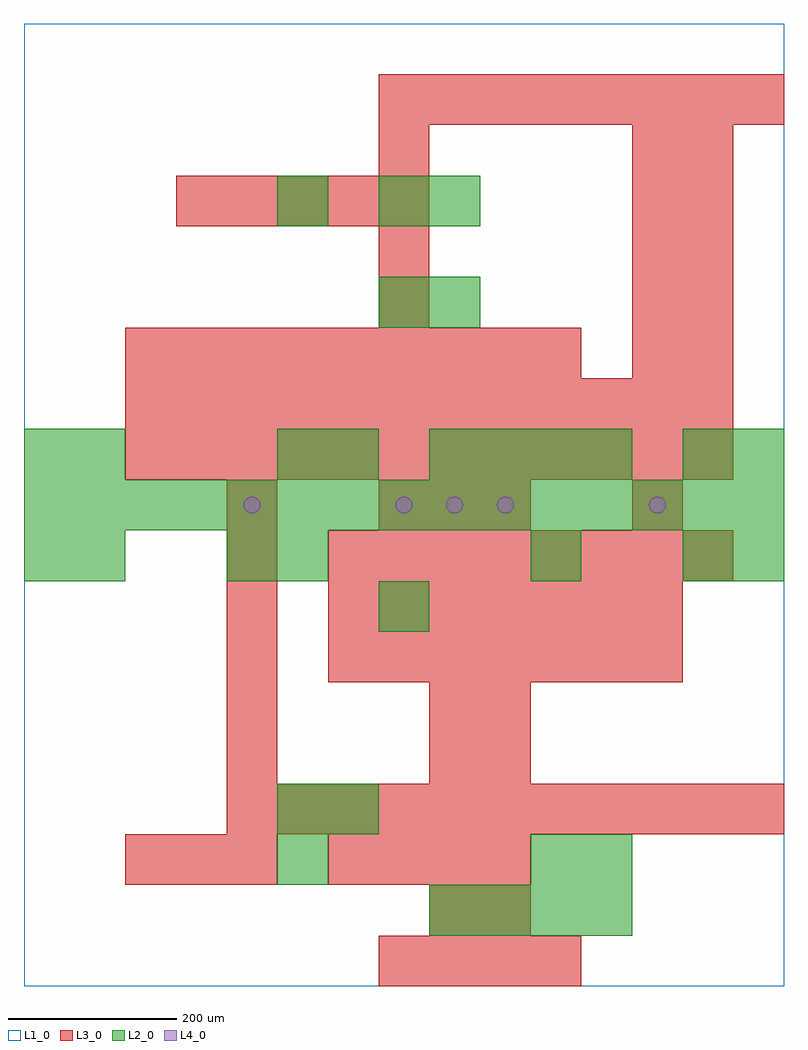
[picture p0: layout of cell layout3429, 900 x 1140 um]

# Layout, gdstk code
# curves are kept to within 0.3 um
import gdstk
lib = gdstk.Library(unit=1e-6, precision=1e-09)
def R(c, l, rs):  # rectangles x0, y0, x1, y1
    for r in rs: c.add(gdstk.rectangle(r[:2], r[2:], *l))
def A(c, l, x, y, w, h, nx, ny, dx, dy):  # array of equal rectangles
    R(c, l, [(x+i*dx, y+j*dy, x+i*dx+w, y+j*dy+h) for i in range(nx) for j in range(ny)])
def P(c, l, *ps):  # polygons
    for p in ps: c.add(gdstk.Polygon(p, *l))
L1_0 = (1, 0)
L2_0 = (2, 0)
L3_0 = (3, 0)
L4_0 = (4, 0)

layout3429 = lib.new_cell('layout3429')
R(layout3429, L1_0, [(0,0,900,1140)])
A(layout3429, L2_0, 480, 60, 60, 60, 4, 2, 60, 540)
A(layout3429, L2_0, 0, 540, 60, 60, 15, 1, 60, 0)
R(layout3429, L2_0, [(300,120,360,180), (600,120,660,180), (660,120,720,180), (300,180,360,240), (360,180,420,240), (420,420,480,480), (0,480,60,540), (60,480,120,540), (240,480,300,540), (300,480,360,540), (600,480,660,540), (780,480,840,540), (840,480,900,540), (0,600,60,660), (60,600,120,660), (300,600,360,660), (360,600,420,660), (780,600,840,660), (840,600,900,660), (420,780,480,840), (480,780,540,840), (300,900,360,960), (420,900,480,960), (480,900,540,960)])
A(layout3429, L3_0, 420, 0, 60, 60, 4, 1, 60, 0)
A(layout3429, L3_0, 120, 120, 60, 60, 3, 1, 60, 0)
A(layout3429, L3_0, 360, 120, 60, 60, 4, 1, 60, 0)
A(layout3429, L3_0, 240, 180, 60, 60, 11, 1, 60, 0)
A(layout3429, L3_0, 240, 240, 60, 60, 1, 6, 0, 60)
A(layout3429, L3_0, 360, 360, 60, 60, 7, 2, 60, 60)
A(layout3429, L3_0, 360, 480, 60, 60, 8, 1, 60, 0)
A(layout3429, L3_0, 420, 540, 60, 60, 3, 1, 60, 0)
A(layout3429, L3_0, 120, 600, 60, 60, 12, 2, 60, 60)
A(layout3429, L3_0, 120, 720, 60, 60, 9, 1, 60, 0)
A(layout3429, L3_0, 720, 720, 60, 60, 1, 5, 0, 60)
A(layout3429, L3_0, 780, 720, 60, 60, 1, 5, 0, 60)
A(layout3429, L3_0, 180, 900, 60, 60, 5, 1, 60, 0)
A(layout3429, L3_0, 420, 1020, 60, 60, 8, 1, 60, 0)
R(layout3429, L3_0, [(480,60,540,120), (540,60,600,120), (480,240,540,300), (540,240,600,300), (480,300,540,360), (540,300,600,360), (720,540,780,600), (420,780,480,840), (420,840,480,900), (420,960,480,1020)])
P(layout3429, L4_0, [(280,570),(279.239,573.827),(277.071,577.071),(273.827,579.239),(270,580),(266.173,579.239),(262.929,577.071),(260.761,573.827),(260,570),(260.761,566.173),(262.929,562.929),(266.173,560.761),(270,560),(273.827,560.761),(277.071,562.929),(279.239,566.173)],
  [(460,570),(459.239,573.827),(457.071,577.071),(453.827,579.239),(450,580),(446.173,579.239),(442.929,577.071),(440.761,573.827),(440,570),(440.761,566.173),(442.929,562.929),(446.173,560.761),(450,560),(453.827,560.761),(457.071,562.929),(459.239,566.173)],
  [(520,570),(519.239,573.827),(517.071,577.071),(513.827,579.239),(510,580),(506.173,579.239),(502.929,577.071),(500.761,573.827),(500,570),(500.761,566.173),(502.929,562.929),(506.173,560.761),(510,560),(513.827,560.761),(517.071,562.929),(519.239,566.173)],
  [(580,570),(579.239,573.827),(577.071,577.071),(573.827,579.239),(570,580),(566.173,579.239),(562.929,577.071),(560.761,573.827),(560,570),(560.761,566.173),(562.929,562.929),(566.173,560.761),(570,560),(573.827,560.761),(577.071,562.929),(579.239,566.173)],
  [(760,570),(759.239,573.827),(757.071,577.071),(753.827,579.239),(750,580),(746.173,579.239),(742.929,577.071),(740.761,573.827),(740,570),(740.761,566.173),(742.929,562.929),(746.173,560.761),(750,560),(753.827,560.761),(757.071,562.929),(759.239,566.173)])

lib.write_gds('layout3429.gds')
